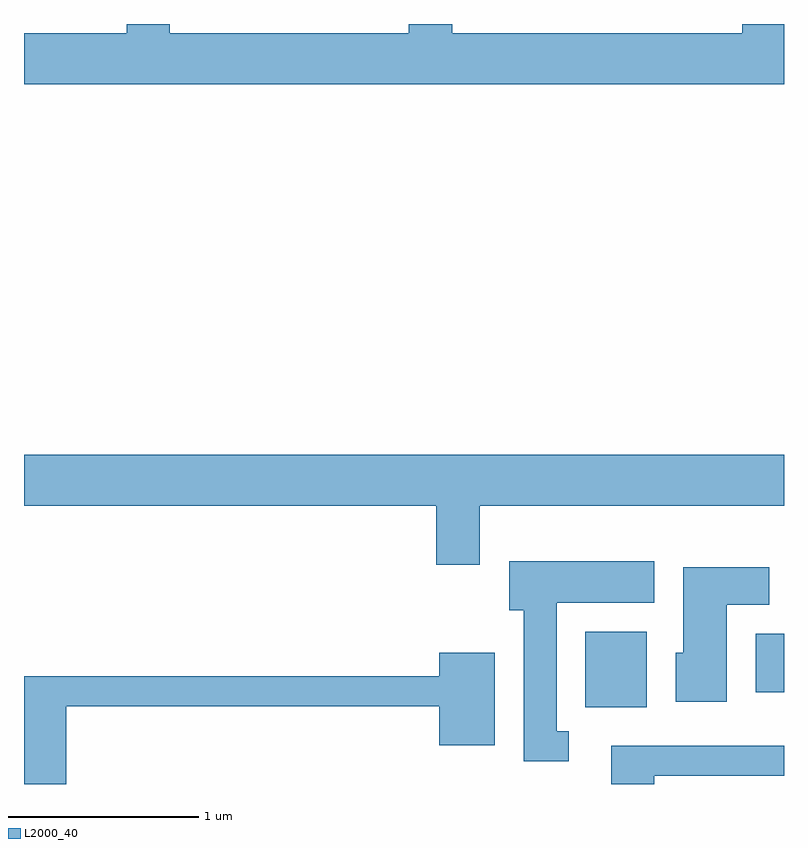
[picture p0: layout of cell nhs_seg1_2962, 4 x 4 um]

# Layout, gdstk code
import gdstk
lib = gdstk.Library(unit=1e-6, precision=1e-09)
def R(c, l, rs):  # rectangles x0, y0, x1, y1
    for r in rs: c.add(gdstk.rectangle(r[:2], r[2:], *l))
def P(c, l, *ps):  # polygons
    for p in ps: c.add(gdstk.Polygon(p, *l))
L2000_40 = (2000, 40)

nhs_seg1_2962 = lib.new_cell('nhs_seg1_2962')
R(nhs_seg1_2962, L2000_40, [(278.566,854.116,278.889,854.514), (279.461,854.196,279.611,854.504)])
P(nhs_seg1_2962, L2000_40, [(279.611,857.712),(279.391,857.712),(279.391,857.664),(277.864,857.664),(277.864,857.712),(277.636,857.712),(277.636,857.664),(276.379,857.664),(276.379,857.712),(276.151,857.712),(276.151,857.664),(275.611,857.664),(275.611,857.396),(279.611,857.396)],
  [(275.611,855.176),(277.781,855.176),(277.781,854.866),(278.009,854.866),(278.009,855.176),(279.611,855.176),(279.611,855.444),(275.611,855.444)],
  [(278.478,853.989),(278.414,853.989),(278.414,854.666),(278.929,854.666),(278.929,854.884),(278.166,854.884),(278.166,854.626),(278.241,854.626),(278.241,853.831),(278.478,853.831)],
  [(279.309,854.656),(279.534,854.656),(279.534,854.854),(279.081,854.854),(279.081,854.404),(279.041,854.404),(279.041,854.146),(279.309,854.146)],
  [(275.834,854.121),(277.796,854.121),(277.796,853.916),(278.089,853.916),(278.089,854.404),(277.796,854.404),(277.796,854.279),(275.611,854.279),(275.611,853.712),(275.834,853.712)],
  [(278.929,853.756),(279.611,853.756),(279.611,853.914),(278.701,853.914),(278.701,853.712),(278.929,853.712)])

lib.write_gds('nhs_seg1_2962.gds')
